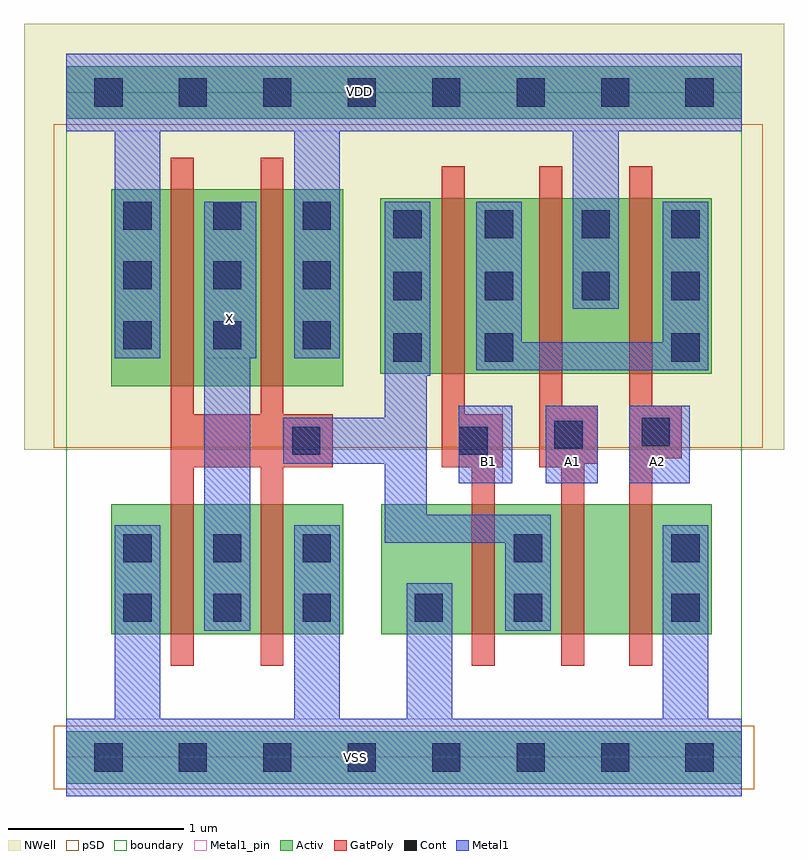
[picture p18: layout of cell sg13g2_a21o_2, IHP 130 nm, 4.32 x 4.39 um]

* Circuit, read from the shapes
.subckt sg13g2_a21o_2 A1 A2 B1 VDD VSS X
XM1 X n1 VSS VSS sg13_lv_nmos w=0.74u l=0.13u m=2
XM2 n1 B1 VSS VSS sg13_lv_nmos w=0.74u l=0.13u
XM3 n2 A1 n1 VSS sg13_lv_nmos w=0.74u l=0.13u
XM4 VSS A2 n2 VSS sg13_lv_nmos w=0.74u l=0.13u
XM5 X n1 VDD VDD sg13_lv_pmos w=1.12u l=0.13u m=2
XM6 n3 B1 n1 VDD sg13_lv_pmos w=1u l=0.13u
XM7 VDD A1 n3 VDD sg13_lv_pmos w=1u l=0.13u
XM8 n3 A2 VDD VDD sg13_lv_pmos w=1u l=0.13u
.ends

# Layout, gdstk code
import gdstk
lib = gdstk.Library(unit=1e-6, precision=1e-09)
def R(c, l, rs):  # rectangles x0, y0, x1, y1
    for r in rs: c.add(gdstk.rectangle(r[:2], r[2:], *l))
def A(c, l, x, y, w, h, nx, ny, dx, dy):  # array of equal rectangles
    R(c, l, [(x+i*dx, y+j*dy, x+i*dx+w, y+j*dy+h) for i in range(nx) for j in range(ny)])
def P(c, l, *ps):  # polygons
    for p in ps: c.add(gdstk.Polygon(p, *l))
Activ = (1, 0)
GatPoly = (5, 0)
Cont = (6, 0)
Metal1 = (8, 0)
Metal1_pin = (8, 2)
pSD = (14, 0)
NWell = (31, 0)
boundary = (189, 4)

sg13g2_a21o_2 = lib.new_cell('sg13g2_a21o_2')
R(sg13g2_a21o_2, Activ, [(0,-0.15,3.84,0.15), (0.255,0.7,1.575,1.44), (1.79,0.7,3.67,1.44), (0.255,2.11,1.575,3.23), (1.785,2.18,3.67,3.18), (0,3.63,3.84,3.93)])
P(sg13g2_a21o_2, GatPoly, [(3.2,0.52),(3.2,3.36),(3.33,3.36),(3.33,2),(3.5,2),(3.5,1.7),(3.33,1.7),(3.33,0.52)],
  [(2.815,0.52),(2.815,1.65),(2.69,1.65),(2.69,3.36),(2.82,3.36),(2.82,2),(3.02,2),(3.02,1.67),(2.945,1.67),(2.945,0.52)],
  [(2.305,0.52),(2.305,1.65),(2.135,1.65),(2.135,3.36),(2.265,3.36),(2.265,1.95),(2.48,1.95),(2.48,1.65),(2.435,1.65),(2.435,0.52)],
  [(0.595,0.52),(0.595,3.41),(0.725,3.41),(0.725,1.95),(1.105,1.95),(1.105,3.41),(1.235,3.41),(1.235,1.95),(1.515,1.95),(1.515,1.65),(1.235,1.65),(1.235,0.52),(1.105,0.52),(1.105,1.65),(0.725,1.65),(0.725,0.52)])
A(sg13g2_a21o_2, Cont, 0.16, -0.08, 0.16, 0.16, 8, 2, 0.48, 3.78)
A(sg13g2_a21o_2, Cont, 0.325, 0.77, 0.16, 0.16, 3, 2, 0.51, 0.34)
A(sg13g2_a21o_2, Cont, 1.86, 2.25, 0.16, 0.16, 1, 3, 0, 0.35)
A(sg13g2_a21o_2, Cont, 2.38, 2.25, 0.16, 0.16, 1, 3, 0, 0.35)
A(sg13g2_a21o_2, Cont, 3.44, 2.25, 0.16, 0.16, 1, 3, 0, 0.35)
A(sg13g2_a21o_2, Cont, 0.325, 2.32, 0.16, 0.16, 3, 3, 0.51, 0.34)
R(sg13g2_a21o_2, Cont, [(1.98,0.77,2.14,0.93), (2.545,0.77,2.705,0.93), (3.44,0.77,3.6,0.93), (2.545,1.11,2.705,1.27), (3.44,1.11,3.6,1.27), (1.285,1.72,1.445,1.88), (2.235,1.72,2.395,1.88), (2.775,1.755,2.935,1.915), (3.27,1.77,3.43,1.93), (2.93,2.6,3.09,2.76), (2.93,2.95,3.09,3.11)])
R(sg13g2_a21o_2, Metal1, [(2.23,1.56,2.535,2), (2.725,1.56,3.02,2), (3.2,1.56,3.545,2), (2.88,2.55,3.14,3.56)])
P(sg13g2_a21o_2, Metal1, [(0,-0.22),(0,0.22),(0.275,0.22),(0.275,1.32),(0.535,1.32),(0.535,0.22),(1.295,0.22),(1.295,1.32),(1.555,1.32),(1.555,0.22),(1.935,0.22),(1.935,0.99),(2.195,0.99),(2.195,0.22),(3.39,0.22),(3.39,1.32),(3.65,1.32),(3.65,0.22),(3.84,0.22),(3.84,-0.22)],
  [(0.275,2.27),(0.275,3.56),(0,3.56),(0,4),(3.84,4),(3.84,3.56),(1.555,3.56),(1.555,2.27),(1.295,2.27),(1.295,3.56),(0.535,3.56),(0.535,2.27)],
  [(2.33,2.2),(2.33,3.16),(2.59,3.16),(2.59,2.36),(3.39,2.36),(3.39,3.16),(3.65,3.16),(3.65,2.2)],
  [(2.495,0.72),(2.495,1.22),(1.81,1.22),(1.81,1.67),(1.235,1.67),(1.235,1.93),(1.81,1.93),(1.81,3.16),(2.07,3.16),(2.07,2.17),(2.05,2.17),(2.05,1.38),(2.755,1.38),(2.755,0.72)],
  [(0.785,0.72),(0.785,3.16),(1.08,3.16),(1.08,2.27),(1.045,2.27),(1.045,0.72)])
R(sg13g2_a21o_2, Metal1_pin, [(0,-0.22,3.84,0.22), (2.23,1.56,2.48,2), (2.725,1.56,3.02,2), (3.2,1.56,3.545,2), (0.785,2.27,1.08,3.16), (0,3.56,3.84,4)])
R(sg13g2_a21o_2, pSD, [(-0.07,-0.18,3.91,0.18), (-0.07,1.76,3.96,3.6)])
R(sg13g2_a21o_2, NWell, [(-0.24,1.75,4.08,4.17)])
R(sg13g2_a21o_2, boundary, [(0,0,3.84,3.78)])
sg13g2_a21o_2.add(gdstk.Label('B1', (2.4,1.68), layer=8, texttype=25))
sg13g2_a21o_2.add(gdstk.Label('X', (0.93,2.495), layer=8, texttype=25))
sg13g2_a21o_2.add(gdstk.Label('VDD', (1.665,3.785), layer=8, texttype=25))
sg13g2_a21o_2.add(gdstk.Label('VSS', (1.645,0), layer=8, texttype=25))
sg13g2_a21o_2.add(gdstk.Label('A1', (2.88,1.68), layer=8, texttype=25))
sg13g2_a21o_2.add(gdstk.Label('A2', (3.36,1.68), layer=8, texttype=25))

lib.write_gds('sg13g2_a21o_2.gds')
